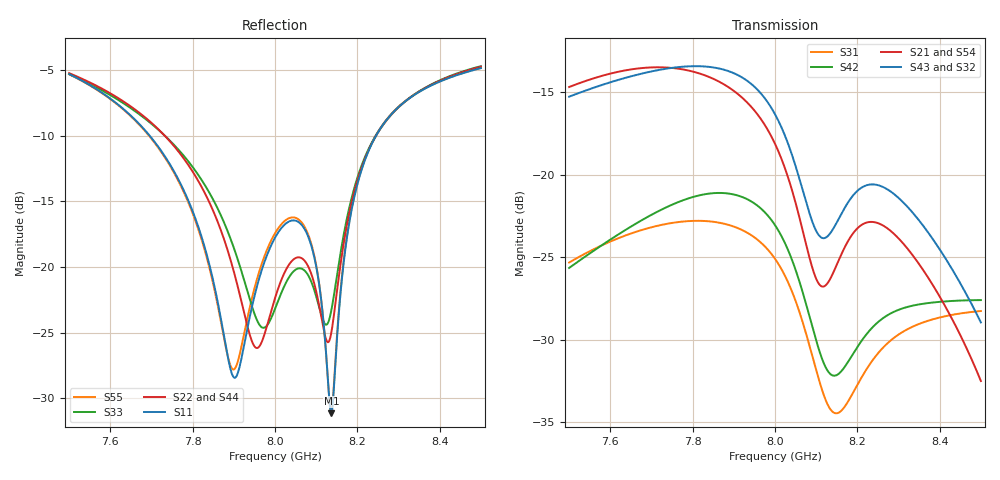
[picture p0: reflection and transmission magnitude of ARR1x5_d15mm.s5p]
! Touchstone file exported from HFSS 2025.1.0
!  File:  C:/Users/user/Documents/Ansoft/TFG_UWB-MIMO-Array.aedt
!  Generated:  09:03:12 PM Nov 21, 2026
!  Design:  ARR1x5_US3_PS4_2_1_dparam
!  Project:  TFG_UWB-MIMO-Array
!  Setup:  Setup_ch9
!  Solution:  Sweep_7p5_8p5
! Variables:
!  arr_d = 15mm
!  board_m = 13mm
!  board_x = 86mm
!  board_y = 26mm
!  cu_t = 0.035mm
!  line_w = 3.92mm
!  pad_xy = 22mm
!  pad_zn = 25mm
!  pad_zp = 33mm
!  par_L = 7.46mm
!  par_W = 10mm
!  par_yc = 0.75mm
!  par_z = 1.035mm
!  patch_L = 6.222mm
!  patch_W = 11.421266mm
!  sub_h = 2.07mm
!  tr_l = 6.6mm
!  tr_w = 0.8mm
!  u_Lu = 2.65mm
!  u_Wu = 4.4mm
!  u_t = 0.8mm
!  u_y0 = -0.7mm
# GHz S MA R 50.000000
! Terminal data exported
! Port[1] = P1
! Port[2] = P2
! Port[3] = P3
! Port[4] = P4
! Port[5] = P5
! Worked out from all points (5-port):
!   1001 points, 7.5 GHz to 8.5 GHz, reference 50 ohm
!   strongest paths, dB at 7.5 GHz, 7.75 GHz, 8 GHz, 8.25 GHz, 8.5 GHz:
!     S43: -15.3, -13.5, -16.3, -20.6, -28.9
!     S32: -15.3, -13.6, -16.4, -20.7, -29.1
!     S21: -14.7, -13.5, -18.1, -22.9, -32.5
!     S54: -14.7, -13.5, -18.1, -22.8, -32.2
!     S42: -25.6, -21.8, -23.1, -28.9, -27.6
!     S31: -25.3, -22.9, -25.1, -30.8, -28.3
!   lowest |S11| = -31.1 dB at 8.137 GHz (marker M1), VSWR 1.06, Z = 52.1 + j1.88 ohm
!   |S11| at or under -10 dB: 7.696 GHz to 8.246 GHz (549.9 MHz wide, 6.9 % of centre)
